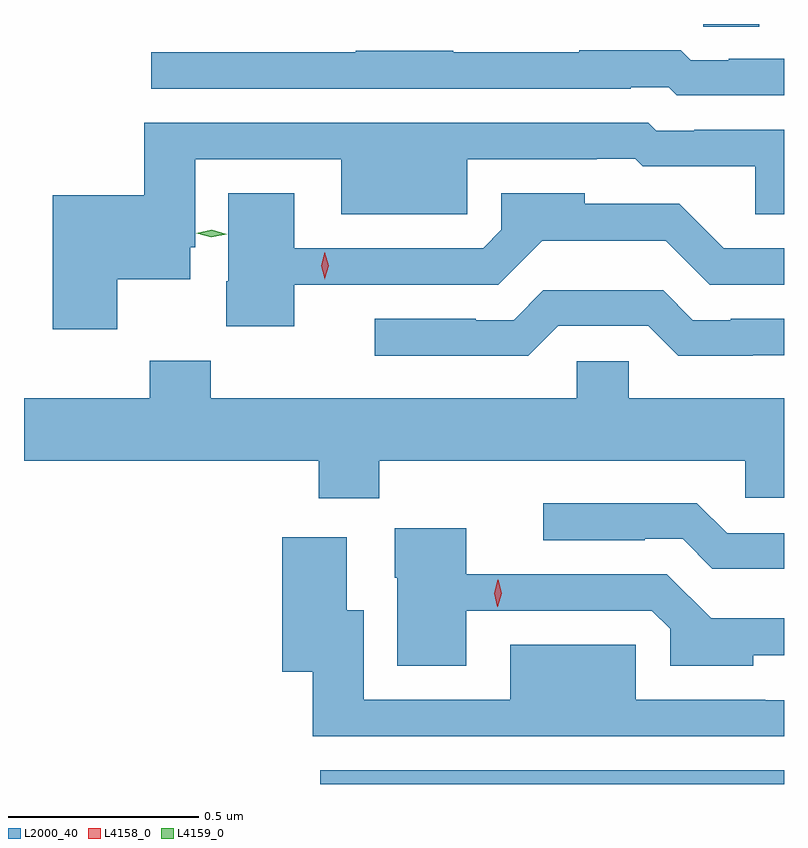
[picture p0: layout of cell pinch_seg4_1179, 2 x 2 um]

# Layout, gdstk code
import gdstk
lib = gdstk.Library(unit=1e-6, precision=1e-09)
def R(c, l, rs):  # rectangles x0, y0, x1, y1
    for r in rs: c.add(gdstk.rectangle(r[:2], r[2:], *l))
def P(c, l, *ps):  # polygons
    for p in ps: c.add(gdstk.Polygon(p, *l))
L2000_40 = (2000, 40)
L4158_0 = (4158, 0)
L4159_0 = (4159, 0)

pinch_seg4_1179 = lib.new_cell('pinch_seg4_1179')
R(pinch_seg4_1179, L2000_40, [(442.647,760.005,443.868,760.041), (443.656,761.998,443.803,762.005)])
P(pinch_seg4_1179, L2000_40, [(443.868,761.913),(443.722,761.913),(443.722,761.91),(443.622,761.91),(443.596,761.936),(443.329,761.936),(443.329,761.931),(442.997,761.931),(442.997,761.934),(442.741,761.934),(442.741,761.931),(442.203,761.931),(442.203,761.835),(443.465,761.835),(443.465,761.838),(443.565,761.838),(443.586,761.817),(443.868,761.817)],
  [(442.114,761.333),(442.306,761.333),(442.306,761.418),(442.318,761.418),(442.318,761.649),(442.703,761.649),(442.703,761.504),(443.034,761.504),(443.034,761.649),(443.375,761.649),(443.375,761.651),(443.476,761.651),(443.496,761.631),(443.792,761.631),(443.792,761.504),(443.868,761.504),(443.868,761.727),(443.632,761.727),(443.632,761.724),(443.532,761.724),(443.511,761.745),(442.184,761.745),(442.184,761.554),(441.944,761.554),(441.944,761.202),(442.114,761.202)],
  [(442.579,761.319),(443.116,761.319),(443.232,761.435),(443.557,761.435),(443.673,761.319),(443.868,761.319),(443.868,761.415),(443.709,761.415),(443.592,761.532),(443.343,761.532),(443.343,761.56),(443.124,761.56),(443.124,761.463),(443.076,761.415),(442.579,761.415),(442.579,761.56),(442.406,761.56),(442.406,761.328),(442.4,761.328),(442.4,761.21),(442.579,761.21)],
  [(443.274,761.211),(443.511,761.211),(443.59,761.132),(443.786,761.132),(443.786,761.133),(443.868,761.133),(443.868,761.229),(443.728,761.229),(443.728,761.226),(443.628,761.226),(443.55,761.304),(443.235,761.304),(443.157,761.226),(443.057,761.226),(443.057,761.229),(442.791,761.229),(442.791,761.132),(443.195,761.132)],
  [(442.803,760.856),(443.766,760.856),(443.766,760.758),(443.868,760.758),(443.868,761.02),(443.46,761.02),(443.46,761.118),(443.322,761.118),(443.322,761.02),(442.359,761.02),(442.359,761.119),(442.199,761.119),(442.199,761.02),(441.868,761.02),(441.868,760.856),(442.643,760.856),(442.643,760.757),(442.803,760.757)],
  [(443.868,760.665),(443.718,760.665),(443.639,760.744),(443.235,760.744),(443.235,760.647),(443.501,760.647),(443.501,760.65),(443.601,760.65),(443.679,760.572),(443.868,760.572)],
  [(443.032,760.461),(443.52,760.461),(443.568,760.413),(443.568,760.316),(443.787,760.316),(443.787,760.344),(443.868,760.344),(443.868,760.441),(443.676,760.441),(443.56,760.557),(443.032,760.557),(443.032,760.678),(442.844,760.678),(442.844,760.548),(442.85,760.548),(442.85,760.316),(443.032,760.316)],
  [(443.868,760.225),(443.819,760.225),(443.819,760.227),(443.478,760.227),(443.478,760.372),(443.147,760.372),(443.147,760.227),(442.762,760.227),(442.762,760.462),(442.717,760.462),(442.717,760.654),(442.547,760.654),(442.547,760.301),(442.628,760.301),(442.628,760.131),(443.868,760.131)])
P(pinch_seg4_1179, L4158_0, [(443.114,760.472),(443.114,760.472),(443.105,760.507),(443.115,760.543),(443.115,760.543),(443.116,760.543),(443.125,760.507),(443.115,760.472)],
  [(442.66,761.333),(442.66,761.334),(442.65,761.369),(442.66,761.404),(442.66,761.404),(442.66,761.404),(442.67,761.369),(442.66,761.334)])
P(pinch_seg4_1179, L4159_0, [(442.361,761.444),(442.321,761.455),(442.321,761.455),(442.321,761.455),(442.362,761.464),(442.402,761.452),(442.402,761.452),(442.402,761.452)])

lib.write_gds('pinch_seg4_1179.gds')
